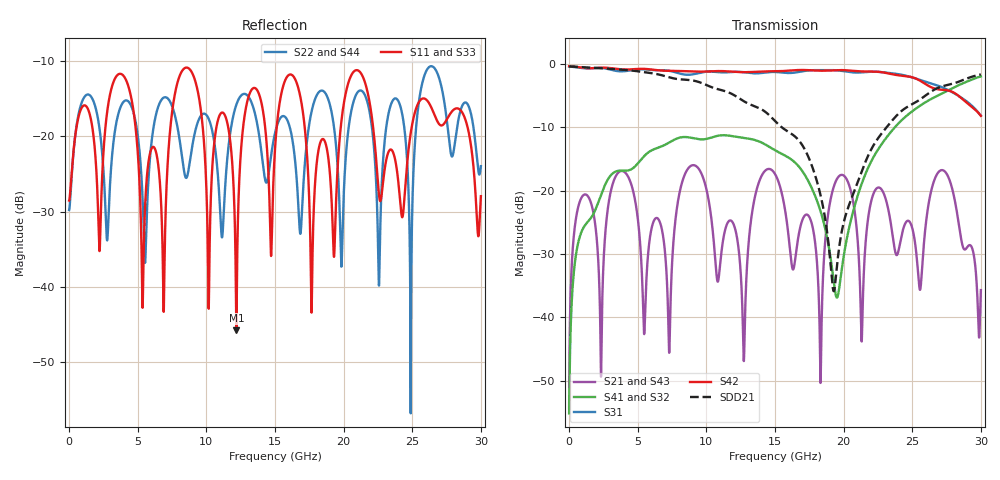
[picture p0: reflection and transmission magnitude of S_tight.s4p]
!diffpair-meanders S_tight (straight pair, 6 mm serpentine on P, folds 0.15 mm apart), mesh fine
!ports 1 P_near 2 N_near 3 P_far 4 N_far; openEMS FDTD, lumped 50 ohm ports
# Hz S RI R 50.0
! Port[1] = P_near
! Port[2] = N_near
! Port[3] = P_far
! Port[4] = N_far
!freq ReS11 ImS11 ReS12 ImS12 ReS13 ImS13
! ReS14 ImS14
! ReS21 ImS21 ReS22 ImS22 ReS23 ImS23
! ReS24 ImS24
! ReS31 ImS31 ReS32 ImS32 ReS33 ImS33
! ReS34 ImS34
! ReS41 ImS41 ReS42 ImS42 ReS43 ImS43
! ReS44 ImS44
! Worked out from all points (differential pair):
!   3000 points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, 10 MHz to 30 GHz, reference 50 ohm
!   strongest paths, dB at 10 MHz, 7.51 GHz, 15.01 GHz, 22.51 GHz, 30 GHz:
!     S42: -0.4, -1.1, -1.2, -1.3, -8.2
!     S31: -0.5, -1.2, -1.3, -1.3, -8.2
!     S41: -55.1, -12.2, -13.6, -13.5, -2.0
!     S32: -55.1, -12.2, -13.6, -13.5, -2.0
!     S21: -54.3, -31.4, -17.4, -19.5, -35.7
!     S43: -54.3, -31.4, -17.4, -19.5, -35.7
!   taken as a pair (ports 2,1 in; 4,3 out), SDD21 dB: -0.4, -2.3, -9.0, -11.8, -1.7
!   lowest |S11| = -45.8 dB at 12.19 GHz (marker M1), VSWR 1.01, Z = 50.5 + j0.0923 ohm
!   |S11| at or under -10 dB: start of sweep to end of sweep
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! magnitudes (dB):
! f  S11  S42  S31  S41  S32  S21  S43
! 10 MHz  -28.5  -0.4  -0.5  -55.1  -55.1  -54.3  -54.3
! 1.06 GHz  -15.9  -0.7  -0.7  -25.8  -25.8  -20.7  -20.7
! 12.19 GHz  -45.8  -1.3  -1.3  -11.5  -11.5  -26.9  -26.9
! 13.31 GHz  -13.8  -1.3  -1.5  -11.9  -11.9  -23.8  -23.8
! 18.32 GHz  -20.7  -1.1  -1.0  -23.2  -23.2  -50.3  -50.4
! 19.52 GHz  -25.7  -1.0  -1.0  -36.9  -37.8  -18.2  -18.2
! 30 GHz  -27.9  -8.2  -8.2  -2.0  -2.0  -35.7  -35.7
